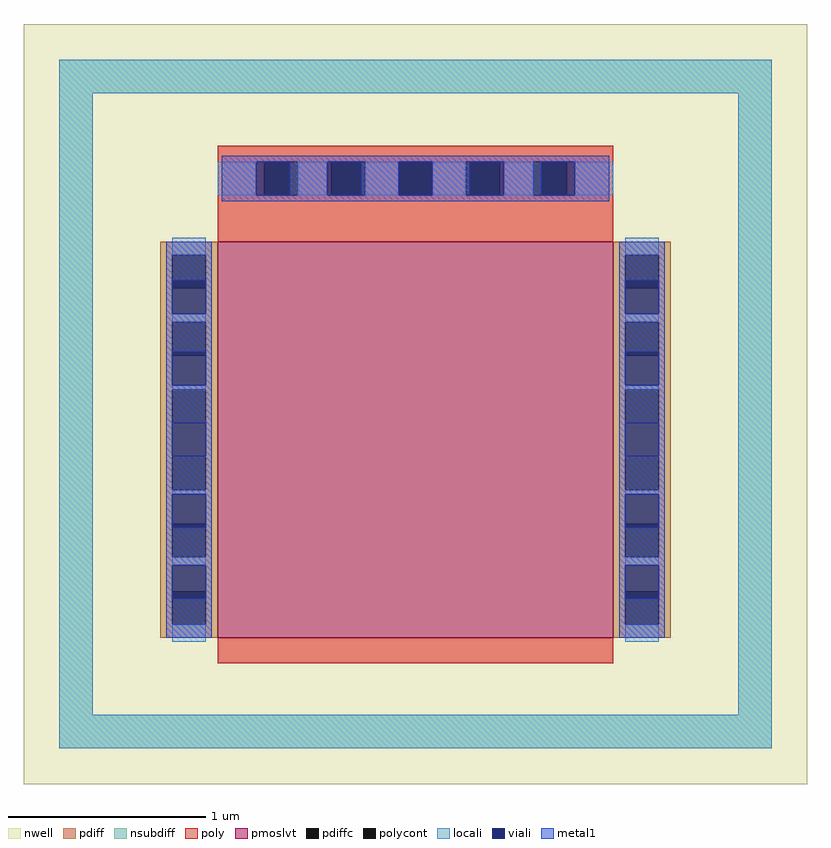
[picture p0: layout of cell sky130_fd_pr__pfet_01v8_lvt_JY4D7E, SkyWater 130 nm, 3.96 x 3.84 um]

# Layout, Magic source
magic
tech sky130A
magscale 1 2
<< nwell >>
rect -396 -384 396 384
<< pmoslvt >>
rect -200 -236 200 164
<< pdiff >>
rect -258 151 -200 164
rect -258 117 -246 151
rect -212 117 -200 151
rect -258 83 -200 117
rect -258 49 -246 83
rect -212 49 -200 83
rect -258 15 -200 49
rect -258 -19 -246 15
rect -212 -19 -200 15
rect -258 -53 -200 -19
rect -258 -87 -246 -53
rect -212 -87 -200 -53
rect -258 -121 -200 -87
rect -258 -155 -246 -121
rect -212 -155 -200 -121
rect -258 -189 -200 -155
rect -258 -223 -246 -189
rect -212 -223 -200 -189
rect -258 -236 -200 -223
rect 200 151 258 164
rect 200 117 212 151
rect 246 117 258 151
rect 200 83 258 117
rect 200 49 212 83
rect 246 49 258 83
rect 200 15 258 49
rect 200 -19 212 15
rect 246 -19 258 15
rect 200 -53 258 -19
rect 200 -87 212 -53
rect 246 -87 258 -53
rect 200 -121 258 -87
rect 200 -155 212 -121
rect 246 -155 258 -121
rect 200 -189 258 -155
rect 200 -223 212 -189
rect 246 -223 258 -189
rect 200 -236 258 -223
<< pdiffc >>
rect -246 117 -212 151
rect -246 49 -212 83
rect -246 -19 -212 15
rect -246 -87 -212 -53
rect -246 -155 -212 -121
rect -246 -223 -212 -189
rect 212 117 246 151
rect 212 49 246 83
rect 212 -19 246 15
rect 212 -87 246 -53
rect 212 -155 246 -121
rect 212 -223 246 -189
<< nsubdiff >>
rect -360 314 360 348
rect -360 -314 -326 314
rect 326 -314 360 314
rect -360 -348 360 -314
<< poly >>
rect -200 245 200 261
rect -200 211 -153 245
rect -119 211 -85 245
rect -51 211 -17 245
rect 17 211 51 245
rect 85 211 119 245
rect 153 211 200 245
rect -200 164 200 211
rect -200 -262 200 -236
<< polycont >>
rect -153 211 -119 245
rect -85 211 -51 245
rect -17 211 17 245
rect 51 211 85 245
rect 119 211 153 245
<< locali >>
rect -360 314 360 348
rect -360 -314 -326 314
rect -200 211 -161 245
rect -119 211 -89 245
rect -51 211 -17 245
rect 17 211 51 245
rect 89 211 119 245
rect 161 211 200 245
rect -246 151 -212 168
rect -246 83 -212 91
rect -246 15 -212 19
rect -246 -91 -212 -87
rect -246 -163 -212 -155
rect -246 -240 -212 -223
rect 212 151 246 168
rect 212 83 246 91
rect 212 15 246 19
rect 212 -91 246 -87
rect 212 -163 246 -155
rect 212 -240 246 -223
rect 326 -314 360 314
rect -360 -348 360 -314
<< viali >>
rect -161 211 -153 245
rect -153 211 -127 245
rect -89 211 -85 245
rect -85 211 -55 245
rect -17 211 17 245
rect 55 211 85 245
rect 85 211 89 245
rect 127 211 153 245
rect 153 211 161 245
rect -246 117 -212 125
rect -246 91 -212 117
rect -246 49 -212 53
rect -246 19 -212 49
rect -246 -53 -212 -19
rect -246 -121 -212 -91
rect -246 -125 -212 -121
rect -246 -189 -212 -163
rect -246 -197 -212 -189
rect 212 117 246 125
rect 212 91 246 117
rect 212 49 246 53
rect 212 19 246 49
rect 212 -53 246 -19
rect 212 -121 246 -91
rect 212 -125 246 -121
rect 212 -189 246 -163
rect 212 -197 246 -189
<< metal1 >>
rect -196 245 196 251
rect -196 211 -161 245
rect -127 211 -89 245
rect -55 211 -17 245
rect 17 211 55 245
rect 89 211 127 245
rect 161 211 196 245
rect -196 205 196 211
rect -252 125 -206 164
rect -252 91 -246 125
rect -212 91 -206 125
rect -252 53 -206 91
rect -252 19 -246 53
rect -212 19 -206 53
rect -252 -19 -206 19
rect -252 -53 -246 -19
rect -212 -53 -206 -19
rect -252 -91 -206 -53
rect -252 -125 -246 -91
rect -212 -125 -206 -91
rect -252 -163 -206 -125
rect -252 -197 -246 -163
rect -212 -197 -206 -163
rect -252 -236 -206 -197
rect 206 125 252 164
rect 206 91 212 125
rect 246 91 252 125
rect 206 53 252 91
rect 206 19 212 53
rect 246 19 252 53
rect 206 -19 252 19
rect 206 -53 212 -19
rect 246 -53 252 -19
rect 206 -91 252 -53
rect 206 -125 212 -91
rect 246 -125 252 -91
rect 206 -163 252 -125
rect 206 -197 212 -163
rect 246 -197 252 -163
rect 206 -236 252 -197
<< properties >>
string FIXED_BBOX -343 -331 343 331
<< end >>
